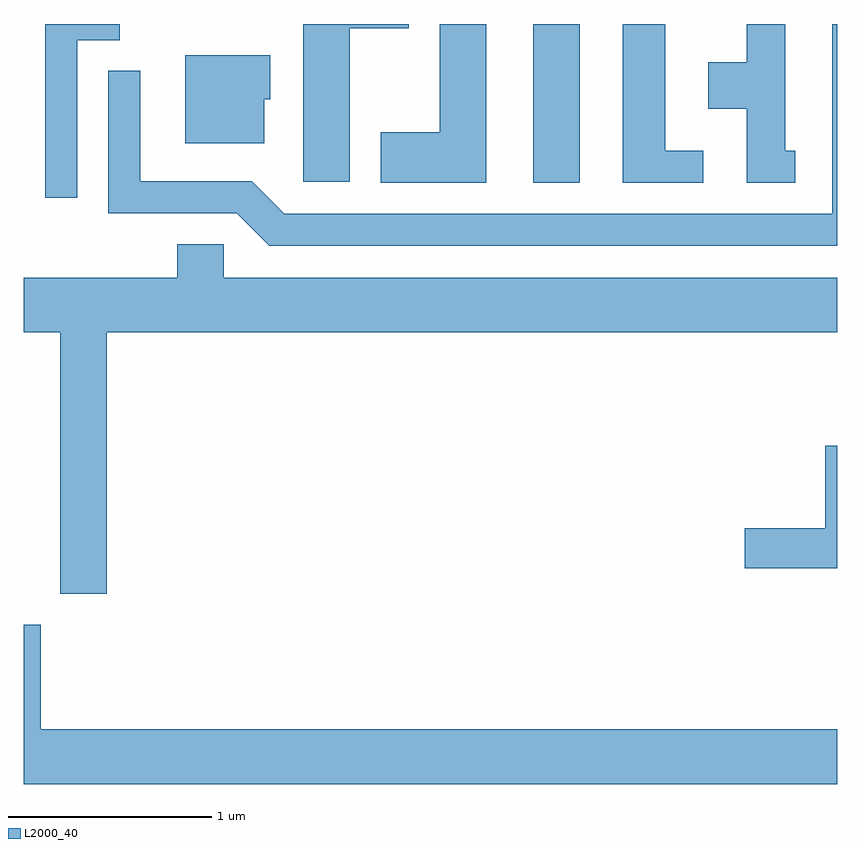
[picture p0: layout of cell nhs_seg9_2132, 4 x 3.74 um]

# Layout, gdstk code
import gdstk
lib = gdstk.Library(unit=1e-6, precision=1e-09)
def R(c, l, rs):  # rectangles x0, y0, x1, y1
    for r in rs: c.add(gdstk.rectangle(r[:2], r[2:], *l))
def P(c, l, *ps):  # polygons
    for p in ps: c.add(gdstk.Polygon(p, *l))
L2000_40 = (2000, 40)

nhs_seg9_2132 = lib.new_cell('nhs_seg9_2132')
R(nhs_seg9_2132, L2000_40, [(250.116,2003.651,250.344,2004.432)])
P(nhs_seg9_2132, L2000_40, [(250.953,2003.809),(250.764,2003.809),(250.764,2004.432),(250.556,2004.432),(250.556,2003.651),(250.953,2003.651)],
  [(247.874,2004.351),(248.084,2004.351),(248.084,2004.432),(247.716,2004.432),(247.716,2003.578),(247.874,2003.578)],
  [(249.884,2004.432),(249.656,2004.432),(249.656,2003.899),(249.366,2003.899),(249.366,2003.651),(249.884,2003.651)],
  [(249.214,2004.411),(249.504,2004.411),(249.504,2004.432),(248.736,2004.432),(248.736,2004.431),(248.986,2004.431),(248.986,2003.656),(249.214,2003.656)],
  [(251.611,2004.432),(251.586,2004.432),(251.586,2003.499),(248.892,2003.499),(248.732,2003.659),(248.184,2003.659),(248.184,2004.203),(248.026,2004.203),(248.026,2003.501),(248.659,2003.501),(248.819,2003.341),(251.611,2003.341)],
  [(251.403,2003.809),(251.354,2003.809),(251.354,2004.432),(251.166,2004.432),(251.166,2004.244),(250.976,2004.244),(250.976,2004.016),(251.166,2004.016),(251.166,2003.651),(251.403,2003.651)],
  [(248.794,2004.061),(248.824,2004.061),(248.824,2004.279),(248.406,2004.279),(248.406,2003.846),(248.794,2003.846)],
  [(248.019,2002.916),(251.611,2002.916),(251.611,2003.184),(248.594,2003.184),(248.594,2003.349),(248.366,2003.349),(248.366,2003.184),(247.611,2003.184),(247.611,2002.916),(247.791,2002.916),(247.791,2001.631),(248.019,2001.631)],
  [(251.611,2002.359),(251.551,2002.359),(251.551,2001.954),(251.156,2001.954),(251.156,2001.756),(251.611,2001.756)],
  [(251.611,2000.964),(247.694,2000.964),(247.694,2001.479),(247.611,2001.479),(247.611,2000.696),(251.611,2000.696)])

lib.write_gds('nhs_seg9_2132.gds')
